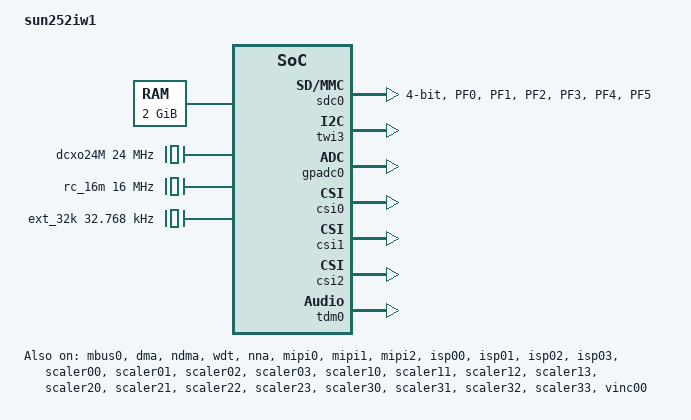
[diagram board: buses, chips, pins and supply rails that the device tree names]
// SPDX-License-Identifier: (GPL-2.0+ or MIT)
#include <dt-bindings/clock/sun252iw1-ccu.h>
#include <dt-bindings/clock/sun252iw1-r-ccu.h>
#include <dt-bindings/clock/sun252iw1-rtc.h>
#include <dt-bindings/reset/sun252iw1-ccu.h>
#include <dt-bindings/reset/sun252iw1-r-ccu.h>
#include <dt-bindings/gpio/gpio.h>
#include <dt-bindings/gpio/sun4i-gpio.h>
#include <dt-bindings/interrupt-controller/irq.h>
#include <dt-bindings/phy/phy.h>
#include <dt-bindings/thermal/thermal.h>
#include <dt-bindings/spi/sunxi-spi.h>

/ {
	model = "sun252iw1";
	compatible = "allwinner,sun252iw1p1";
	#address-cells = <2>;
	#size-cells = <2>;

	aliases {
		serial0 = &uart0;
		twi0 = &twi0;
		twi1 = &twi1;
		twi2 = &twi2;
		twi3 = &twi3;
		spi0 = &spi0;
		gpadc0 = &gpadc0;
		pwm0 = &pwm0;
	};

	chosen {
		stdout-path = "serial0:115200n8";  /* opensbi needs this */
	};

	reserved-memory {
		#address-cells = <2>;
		#size-cells = <2>;
		ranges;
		opensbi {
			reg = <0x0 0x46fc0000 0x0 0x00040000>;
		};

		linux,cma {
			compatible = "shared-dma-pool";
			reusable;
			size = <0x0 0x8000000>;
			alignment = <0x0 0x2000>;
			linux,cma-default;
		};
	};

	/* avoid panic when memory-node err(from uboot) */
	memory@40000000 {
		device_type = "memory";
		reg = <0x00000000 0x40000000 0x00000000 0x80000000>;
	};

	dcxo24M: dcxo24M_clk {
		#clock-cells = <0>;
		compatible = "fixed-clock";
		clock-frequency = <24000000>;
		clock-output-names = "dcxo24M";
	};

	rc_16m: rc16m_clk {
		#clock-cells = <0>;
		compatible = "fixed-clock";
		clock-frequency = <16000000>;
		clock-accuracy = <300000000>;
		clock-output-names = "rc-16m";
	};

	ext_32k: ext32k_clk {
		#clock-cells = <0>;
		compatible = "fixed-clock";
		clock-frequency = <32768>;
		clock-output-names = "ext-32k";
	};
	cpus {
		#address-cells = <1>;
		#size-cells = <0>;
		timebase-frequency = <24000000>;

		cpu0: cpu@0 {
			device_type = "cpu";
			reg = <0x0>;
			status = "okay";
			compatible = "riscv";
			cpu-idle-states = <&CPU_SLEEP>;
			riscv,cbom-block-size = <0x40>;
			riscv,cboz-block-size = <0x40>;
			riscv,isa = "rv32imafdcvsu_zicbom_zicboz_svpbmt";
			mmu-type = "riscv,sv32";
			cpu0_intc: interrupt-controller {
				#address-cells = <0>;
				#interrupt-cells = <1>;
				compatible = "riscv,cpu-intc";
				interrupt-controller;
			};
		};

		cpu1: cpu@1 {
			device_type = "cpu";
			reg = <0x1>;
			status = "okay";
			compatible = "riscv";
			cpu-idle-states = <&CPU_SLEEP>;
			riscv,cbom-block-size = <0x40>;
			riscv,cboz-block-size = <0x40>;
			riscv,isa = "rv32imafdcvsu_zicbom_zicboz_svpbmt";
			mmu-type = "riscv,sv32";
			cpu1_intc: interrupt-controller {
				#address-cells = <0>;
				#interrupt-cells = <1>;
				compatible = "riscv,cpu-intc";
				interrupt-controller;
			};
		};

		cpu-map {
			cluster0 {
				core0 {
					cpu = <&cpu0>;
				};
				core1 {
					cpu = <&cpu1>;
				};
			};
		};

		idle-states {
			CPU_SLEEP: cpu-nonretentive {
				compatible = "riscv,idle-state";
				riscv,sbi-suspend-param = <0x80000000>;
				entry-latency-us = <50>;
				exit-latency-us = <50>;
				min-residency-us = <500>;
			};
		};
	};

	mbus0: mbus-controller@0x3102000 {
		compatible = "allwinner,generic-mbus";
		reg = <0x0 0x03102000 0x0 0x1000>;
		#mbus-cells = <1>;
		status = "okay";
		master_pmu_names = "pmu_cpuddr", "pmu_riscv_sys", "pmu_mahb_ddr",
		"pmu_dma_ddr", "pmu_ve_ddr", "pmu_ce_ddr", "pmu_csi_ddr",
		"pmu_isp_sys", "pmu_g2d_ddr", "pmu_de_ddr", "pmu_npu_ddr",
		"pmu_othddr", "pmu_totddr";
		master_pmu_idxs =<0 1 2 3 4 6 7 8 9 10 13 14 15>;
		master_port_idxs = <0 39 2 3 4 40 11 12 13 16 38>;
	};

	soc: soc@3000000 {
		compatible = "simple-bus";
		#address-cells = <2>;
		#size-cells = <2>;
		ranges;
		dma-noncoherent;

		plic0: interrupt-controller@30000000 {
			compatible = "thead,c900-plic";
			#address-cells = <0>;
			#interrupt-cells = <2>;
			interrupt-controller;
			reg = <0x0 0x30000000 0x0 0x402000>;
			interrupts-extended = <&cpu0_intc 11 &cpu0_intc 9>,
					      <&cpu1_intc 11 &cpu1_intc 9>;
			riscv,ndev = <150>;
		};

		clint: timer@34000000 {
			compatible = "thead,c900-clint";
			reg = <0x0 0x34000000 0x0 0x00010000>;
			interrupts-extended = <&cpu0_intc 3>, <&cpu0_intc 7>,
					      <&cpu1_intc 3>, <&cpu1_intc 7>;
		};

		pio: pinctrl@2000000 {
			compatible = "allwinner,sun252iw1-pinctrl";
			reg = <0x0 0x02000000 0x0 0x800>;
			interrupts-extended = <&plic0 67 IRQ_TYPE_LEVEL_HIGH>,
				<&plic0 73 IRQ_TYPE_LEVEL_HIGH>,
				<&plic0 77 IRQ_TYPE_LEVEL_HIGH>;
			clocks = <&ccu CLK_APB0>, <&dcxo24M>, <&rtc_ccu CLK_OSC32K>;
			clock-names = "apb", "hosc", "losc";
			gpio-controller;
			#gpio-cells = <3>;
			interrupt-controller;
			#interrupt-cells = <3>;
			#address-cells = <2>;

			sdc0_pins_a: sdc0@0 {
				pins = "PF0", "PF1", "PF2",
						"PF3", "PF4", "PF5";
				function = "sdc0";
				drive-strength = <40>;
				bias-pull-up;
				power-source = <3300>;
			};

			sdc0_pins_b: sdc0@1 {
				pins = "PF0", "PF1", "PF2",
						"PF3", "PF4", "PF5";
				function = "sdc0";
				drive-strength = <40>;
				bias-pull-up;
				power-source = <1800>;
			};

			sdc0_pins_c: sdc0@2 {
				pins = "PF0", "PF1", "PF2",
						"PF3", "PF4", "PF5";
				function = "gpio_in";
				power-source = <3300>;
			};

			/* TODO: add jtag pin */
			sdc0_pins_d: sdc0@3 {
				pins = "PF2", "PF4";
				function = "uart0";
				drive-strength = <10>;
				bias-pull-up;
				power-source = <3300>;
			};

			sdc0_pins_e: sdc0@4 {
				pins = "PF0", "PF1", "PF3",
						"PF5";
				function = "jtag";
				drive-strength = <10>;
				bias-pull-up;
				power-source = <3300>;
			};
		};

		rtc_ccu: rtc_ccu@7090000 {
			compatible = "allwinner,sun252iw1-rtc-ccu";
			device_type = "rtc-ccu";
			reg = <0x0 0x07090000 0x0 0x320>;  /* The same as rtc */
			#clock-cells = <1>;
		};

		ccu: ccu@2001000 {
			compatible = "allwinner,sun252iw1-ccu";
			reg = <0x0 0x02001000 0x0 0x1000>;
			clocks = <&dcxo24M>, <&rtc_ccu CLK_OSC32K>, <&rtc_ccu CLK_IOSC>;
			clock-names = "hosc", "losc", "iosc";
			#clock-cells = <1>;
			#reset-cells = <1>;
		};

		r_ccu: r_ccu@7010000 {
			compatible = "allwinner,sun252iw1-r-ccu";
			reg = <0x0 0x07010000 0x0 0x400>;
			#clock-cells = <1>;
			#reset-cells = <1>;
		};

		dump_reg:dump_reg@100000 {
			compatible = "allwinner,sunxi-dump-reg";
			reg = <0x0 0x00100000 0x0 0x0004>;
		};

		uart0: uart@2500000 {
			compatible = "allwinner,uart-v100",
				     "allwinner,sunxi-uart";  /* opensbi needs this */
			reg = <0x0 0x02500000 0x0 0x400>;
			interrupts-extended = <&plic0 2 IRQ_TYPE_LEVEL_HIGH>;
			uart0_port = <0>;
			uart0_type = <2>;
			clocks = <&ccu CLK_UART0>;
			resets = <&ccu RST_BUS_UART0>;
			status = "disabled";
		};

		dma:dma-controller@3002000 {
			compatible = "allwinner,dma-v109";
			reg = <0x0 0x03002000 0x0 0x1000>;
			interrupts-extended = <&plic0 50 IRQ_TYPE_LEVEL_HIGH>;
			clocks = <&ccu CLK_SGDMA>, <&ccu CLK_MBUS_DMA_EN>, <&ccu CLK_MBUS_SGDMA_GATE>;
			clock-names = "bus", "mbus-en", "mbus";
			dma-noncoherent;
			dma-channels = <4>;
			dma-requests = <64>;
			resets = <&ccu RST_BUS_SGDMA>;
			#dma-cells = <1>;
			status = "okay";
		};

		timer0_0: timer0@3008000 {
			compatible = "allwinner,hstimer-v100";
			device_type = "timer0";
			reg = <0x0 0x03008000 0x0 0x400>;
			interrupts-extended = <&plic0 55 IRQ_TYPE_LEVEL_HIGH>;
			clocks = <&dcxo24M>, <&ccu CLK_HSTIMER>;
			clock-names = "parent", "bus";
			resets = <&ccu RST_BUS_HSTIME>;
		};

		ndma:ndma-controller@3042000 {
			compatible = "allwinner,ndma-v100";
			reg = <0x0 0x03042000 0x0 0x1000>;
			interrupts-extended = <&plic0 37 IRQ_TYPE_LEVEL_HIGH>;
			clocks = <&ccu CLK_NDMA>;
			clock-names = "bus";
			dma-noncoherent;
			dma-channels = <8>;
			dma-requests = <64>;
			resets = <&ccu RST_BUS_NDMA>;
			#dma-cells = <1>;
			status = "okay";
		};

		sdc0: sdmmc@4020000 {
			compatible = "allwinner,sunxi-mmc-v5p3x";
			device_type = "sdc0";
			reg = <0x0 0x04020000 0x0 0x1000>;
			interrupts-extended = <&plic0 40 IRQ_TYPE_LEVEL_HIGH>;
			clocks = <&dcxo24M>,
				 <&ccu CLK_PLL_PERI_400M>,
				 <&ccu CLK_PLL_PERI_300M>,
				 <&ccu CLK_SMHC0>,
				 <&ccu CLK_BUS_SMHC0>;
			clock-names = "osc24m","pll_periph","pll_periph_2","mmc","ahb";
			resets = <&ccu RST_BUS_SMHC0>;
			reset-names = "rst";
			pinctrl-names = "default","mmc_1v8","sleep","uart_jtag";
			pinctrl-0 = <&sdc0_pins_a>;
			pinctrl-1 = <&sdc0_pins_b>;
			pinctrl-2 = <&sdc0_pins_c>;
			pinctrl-3 = <&sdc0_pins_d &sdc0_pins_e>;
			max-frequency = <50000000>;
			bus-width = <4>;
			req-page-count = <2>;
			/*non-removable;*/
			/*broken-cd;*/
			/*cd-inverted*/
			/*cd-gpios = <&pio PF 6 GPIO_ACTIVE_LOW>;*/
			/* vmmc-supply = <&reg_3p3v>;*/
			/* vqmc-supply = <&reg_3p3v>;*/
			/* vdmc-supply = <&reg_3p3v>;*/
			/*vmmc = "vcc-card";*/
			/*vqmc = "";*/
			/*vdmc = "";*/
			cap-sd-highspeed;
			cap-wait-while-busy;
			/*sd-uhs-sdr50;*/
			/*sd-uhs-ddr50;*/
			/*cap-sdio-irq;*/
			/*keep-power-in-suspend;*/
			/*ignore-pm-notify;*/
			/*sunxi-power-save-mode;*/
			/*sunxi-dly-400k = <1 0 0 0>; */
			/*sunxi-dly-26M  = <1 0 0 0>;*/
			/*sunxi-dly-52M  = <1 0 0 0>;*/
			/*sunxi-dly-52M-ddr4  = <1 0 0 0>;*/
			/*sunxi-dly-52M-ddr8  = <1 0 0 0>;*/
			/*sunxi-dly-104M  = <1 0 0 0>;*/
			/*sunxi-dly-208M  = <1 0 0 0>;*/
			/*sunxi-dly-104M-ddr  = <1 0 0 0>;*/
			/*sunxi-dly-208M-ddr  = <1 0 0 0>;*/
			ctl-spec-caps = <0x428>;
			status = "okay";
		};

		twi0: twi@2502000 {
			#address-cells = <1>;
			#size-cells = <0>;
			compatible = "allwinner,sunxi-twi-v101";
			device_type = "twi0";
			reg = <0x0 0x02502000 0x0 0x400>;
			interrupts-extended= <&plic0 9 IRQ_TYPE_LEVEL_HIGH>;
			clocks = <&ccu CLK_TWI0>;
			resets = <&ccu RST_BUS_TWI0>;
			clock-names = "bus";
			dmas = <&dma 43>, <&dma 43>;
			dma-names = "tx", "rx";
			status = "disabled";
		};

		twi1: twi@2502400 {
			#address-cells = <1>;
			#size-cells = <0>;
			compatible = "allwinner,sunxi-twi-v101";
			device_type = "twi1";
			reg = <0x0 0x02502400 0x0 0x400>;
			interrupts-extended= <&plic0 10 IRQ_TYPE_LEVEL_HIGH>;
			clocks = <&ccu CLK_TWI1>;
			resets = <&ccu RST_BUS_TWI1>;
			clock-names = "bus";
			dmas = <&dma 44>, <&dma 44>;
			dma-names = "tx", "rx";
			status = "disabled";
		};

		twi2: twi@2502800 {
			#address-cells = <1>;
			#size-cells = <0>;
			compatible = "allwinner,sunxi-twi-v101";
			device_type = "twi2";
			reg = <0x0 0x02502800 0x0 0x400>;
			interrupts-extended = <&plic0 11 IRQ_TYPE_LEVEL_HIGH>;
			clocks = <&ccu CLK_TWI2>;
			resets = <&ccu RST_BUS_TWI2>;
			clock-names = "bus";
			dmas = <&dma 45>, <&dma 45>;
			dma-names = "tx", "rx";
			status = "disabled";
		};

		twi3: twi@2502c00 {
			#address-cells = <1>;
			#size-cells = <0>;
			compatible = "allwinner,sunxi-twi-v101";
			device_type = "twi3";
			reg = <0x0 0x02502c00 0x0 0x400>;
			interrupts-extended = <&plic0 12 IRQ_TYPE_LEVEL_HIGH>;
			clocks = <&ccu CLK_TWI3>;
			resets = <&ccu RST_BUS_TWI3>;
			clock-names = "bus";
			dmas = <&dma 46>, <&dma 46>;
			dma-names = "tx", "rx";
		};

		spi0: spi@4025000 {
			#address-cells = <1>;
			#size-cells = <0>;
			compatible = "allwinner,sunxi-spi-v1.3";
			reg = <0x0 0x04025000 0x0 0x1000>;
			interrupts-extended = <&plic0 15 IRQ_TYPE_LEVEL_HIGH>;
			clocks = <&ccu CLK_PLL_PERI_300M>, <&ccu CLK_SPI0>, <&ccu CLK_BUS_SPI0>;
			clock-names = "pll", "mod", "bus";
			resets = <&ccu RST_BUS_SPI0>;
			dmas = <&dma 22>, <&dma 22>;
			dma-names = "tx", "rx";
			clock-frequency = <100000000>;
			sunxi,spi-num-cs = <2>;
			status = "disabled";
		};

		rtc: rtc@7090000 {
			compatible = "allwinner,rtc-v200";
			device_type = "rtc";
			wakeup-source;
			auto_switch;
			reg = <0x0 0x07090000 0x0 0x320>;
			interrupts-extended  = <&plic0 138 IRQ_TYPE_LEVEL_HIGH>;
			clocks = <&r_ccu CLK_R_RTC>, <&rtc_ccu CLK_RTC_1K>, <&rtc_ccu CLK_RTC_SPI>;
			clock-names = "r-ahb-rtc", "rtc-1k", "rtc-spi";
			resets = <&r_ccu RST_BUS_R_RTC>;
			gpr_cur_pos = <6>;
		};

		wdt: watchdog@8009000 {
			compatible = "allwinner,wdt-v104";
			reg = <0x0 0x08009000 0x0 0x40>;
			status = "okay";
			lowlevel-output-time-for-reset = <0x3F>;
		};

		nna: nna@3050000 {
			compatible = "allwinner,aw-nna-sunxi";
			reg = <0x0 0x03050000 0x0 0x10000>;
			interrupts-extended  = <&plic0 65 IRQ_TYPE_LEVEL_HIGH>;
			clocks = <&ccu CLK_BUS_NPU>,
				 <&ccu CLK_MBUS_NPU_GATE>,
				 <&ccu CLK_NPU>;
			clock-names = "bus_npu", "mbus_npu", "npu";
			resets = <&ccu RST_BUS_NPU>;
			status = "okay";
		};

		gpadc0: gpadc0@2009000 {
			compatible = "allwinner,sunxi-gpadc-v104";
			reg = <0x0 0x02009000 0x0 0x400>;
			interrupts-extended  = <&plic0 228 IRQ_TYPE_LEVEL_HIGH>;
			clocks = <&ccu CLK_GPADC>, <&ccu CLK_GPADC>;
			clock-names = "bus", "hosc";
			resets = <&ccu RST_BUS_GPADC>;
			status = "okay";
		};

		pwm0: pwm0@2002000 {
			#pwm-cells = <0x3>;
			compatible = "allwinner,sunxi-pwm-v203";
			reg = <0x0 0x02002000 0x0 0x400>;
			clocks = <&ccu CLK_PWM>;
			interrupts-extended  = <&plic0 72 IRQ_TYPE_LEVEL_HIGH>;
			resets = <&ccu RST_BUS_PWM>;
			pwm-number = <16>;
			pwm-base = <0x0>;
			sunxi-pwms = <&pwm0_0>, <&pwm0_1>, <&pwm0_2>, <&pwm0_3>, <&pwm0_4>,
			<&pwm0_5>, <&pwm0_6>, <&pwm0_7>, <&pwm0_8>, <&pwm0_9>,
			<&pwm0_10>, <&pwm0_11>, <&pwm0_12>, <&pwm0_13>,
			<&pwm0_14>, <&pwm0_15>;
			status = "disabled";
		};

		pwm0_0: pwm0@2002010 {
			compatible = "allwinner,sunxi-pwm0";
			pinctrl-names = "active", "sleep";
			reg = <0x0 0x02002010 0x0 0x4>;
			reg_base = <0x02002000>;
			status = "disabled";
		};

		pwm0_1: pwm0@2002011 {
			compatible = "allwinner,sunxi-pwm1";
			pinctrl-names = "active", "sleep";
			reg = <0x0 0x02002011 0x0 0x4>;
			reg_base = <0x02002000>;
			status = "disabled";
		};

		pwm0_2: pwm0@2002012 {
			compatible = "allwinner,sunxi-pwm2";
			pinctrl-names = "active", "sleep";
			reg = <0x0 0x02002012 0x0 0x4>;
			reg_base = <0x02002000>;
			status = "disabled";
		};

		pwm0_3: pwm0@2002013 {
			compatible = "allwinner,sunxi-pwm3";
			pinctrl-names = "active", "sleep";
			reg = <0x0 0x02002013 0x0 0x4>;
			reg_base = <0x02002000>;
			status = "disabled";
		};

		pwm0_4: pwm0@2002014 {
			compatible = "allwinner,sunxi-pwm4";
			pinctrl-names = "active", "sleep";
			reg = <0x0 0x02002014 0x0 0x4>;
			reg_base = <0x02002000>;
			status = "disabled";
		};

		pwm0_5: pwm0@2002015 {
			compatible = "allwinner,sunxi-pwm5";
			pinctrl-names = "active", "sleep";
			reg = <0x0 0x02002015 0x0 0x4>;
			reg_base = <0x02002000>;
			status = "disabled";
		};

		pwm0_6: pwm0@2002016 {
			compatible = "allwinner,sunxi-pwm6";
			pinctrl-names = "active", "sleep";
			reg = <0x0 0x02002016 0x0 0x4>;
			reg_base = <0x02002000>;
			status = "disabled";
		};

		pwm0_7: pwm0@2002017 {
			compatible = "allwinner,sunxi-pwm7";
			pinctrl-names = "active", "sleep";
			reg = <0x0 0x02002017 0x0 0x4>;
			reg_base = <0x02002000>;
			status = "disabled";
		};

		pwm0_8: pwm0@2002018 {
			compatible = "allwinner,sunxi-pwm8";
			pinctrl-names = "active", "sleep";
			reg = <0x0 0x02002018 0x0 0x4>;
			reg_base = <0x02002000>;
			status = "disabled";
		};

		pwm0_9: pwm0@2002019 {
			compatible = "allwinner,sunxi-pwm9";
			pinctrl-names = "active", "sleep";
			reg = <0x0 0x02002019 0x0 0x4>;
			reg_base = <0x02002000>;
			status = "disabled";
		};

		pwm0_10: pwm0@200201a {
			compatible = "allwinner,sunxi-pwm10";
			pinctrl-names = "active", "sleep";
			reg = <0x0 0x0200201a 0x0 0x4>;
			reg_base = <0x02002000>;
			status = "disabled";
		};

		pwm0_11: pwm0@200201b {
			compatible = "allwinner,sunxi-pwm11";
			pinctrl-names = "active", "sleep";
			reg = <0x0 0x0200201b 0x0 0x4>;
			reg_base = <0x02002000>;
			status = "disabled";
		};

		pwm0_12: pwm0@200201c {
			compatible = "allwinner,sunxi-pwm12";
			pinctrl-names = "active", "sleep";
			reg = <0x0 0x0200201c 0x0 0x4>;
			reg_base = <0x02002000>;
			status = "disabled";
		};

		pwm0_13: pwm0@200201d {
			compatible = "allwinner,sunxi-pwm13";
			pinctrl-names = "active", "sleep";
			reg = <0x0 0x0200201d 0x0 0x4>;
			reg_base = <0x02002000>;
			status = "disabled";
		};

		pwm0_14: pwm0@200201e {
			compatible = "allwinner,sunxi-pwm14";
			pinctrl-names = "active", "sleep";
			reg = <0x0 0x0200201e 0x0 0x4>;
			reg_base = <0x02002000>;
			status = "disabled";
		};

		pwm0_15: pwm0@200201f {
			compatible = "allwinner,sunxi-pwm15";
			pinctrl-names = "active", "sleep";
			reg = <0x0 0x0200201f 0x0 0x4>;
			reg_base = <0x02002000>;
			status = "disabled";
		};

		sid: sid@7091000 {
			compatible = "allwinner,sunxi-sid";
			reg = <0x0 0x07091000 0x0 0x1000>;
			#address-cells = <1>;
			#size-cells = <1>;
			non-secure-maxoffset = <0xC8>;
			non-secure-maxlen = <0x10>;
			chipid {
				offset = <0x200>;
				size = <0x10>;
			};
			rotpk {
				offset = <0x140>;
				size = <0x20>;
			};
		};

		sram_ctrl: sram_ctrl@3000000 {
			compatible = "allwinner,sram_ctrl";
			reg = <0x0 0x03000000 0 0x184>;
			soc_ver {
				offset = <0x24>;
				mask = <0x7>;
				shift = <0>;
			};
		};
		vind0: vind@5800800 {
			compatible = "allwinner,sunxi-vin-media", "simple-bus";
			#address-cells = <2>;
			#size-cells = <2>;
			ranges;
			device_id = <0>;
			csi_top = <300000000>;
			reg = <0x0 0x05800800 0x0 0x200>,
				<0x0 0x05800000 0x0 0x800>,
				<0x0 0x05810000 0x0 0x100>;
			interrupts-extended = <&plic0 106 IRQ_TYPE_LEVEL_HIGH>;
			clocks = <&ccu CLK_CSI>, <&ccu CLK_PLL_CSI_4X>,
				<&ccu CLK_CSI_MASTER0>, <&dcxo24M>, <&ccu CLK_PLL_CSI_4X>,
				<&ccu CLK_CSI_MASTER1>, <&dcxo24M>, <&ccu CLK_PLL_CSI_4X>,
				<&ccu CLK_CSI_MASTER2>, <&dcxo24M>, <&ccu CLK_PLL_CSI_4X>;
			clock-names = "csi_top", "csi_top_src",
						"csi_mclk0", "csi_mclk0_24m", "csi_mclk0_pll",
						"csi_mclk1", "csi_mclk1_24m", "csi_mclk1_pll",
						"csi_mclk2", "csi_mclk2_24m", "csi_mclk2_pll";
			resets = <&ccu RST_BUS_CSI>, <>;
			reset-names = "csi_ret", "isp_ret";
			pinctrl-names = "mclk0-default", "mclk0-sleep", "mclk1-default", "mclk1-sleep",
							"mclk2-default", "mclk2-sleep";
			pinctrl-0 = <>;
			pinctrl-1 = <>;
			pinctrl-2 = <>;
			pinctrl-3 = <>;
			pinctrl-4 = <>;
			pinctrl-5 = <>;
			#power-domains = <>;
			#dram_dfs_time = <150>;
			status = "okay";

			csi0: csi@5820000 {
				compatible = "allwinner,sunxi-csi";
				reg = <0x0 0x05820000 0x0 0x1000>;
				interrupts-extended = <&plic0 100 IRQ_TYPE_LEVEL_HIGH>;
				device_id = <0>;
				status = "okay";
			};
			csi1: csi@5821000 {
				compatible = "allwinner,sunxi-csi";
				reg = <0x0 0x05821000 0x0 0x1000>;
				interrupts-extended = <&plic0 101 IRQ_TYPE_LEVEL_HIGH>;
				device_id = <1>;
				status = "okay";
			};
			csi2: csi@5822000 {
				compatible = "allwinner,sunxi-csi";
				reg = <0x0 0x05822000 0x0 0x1000>;
				interrupts-extended = <&plic0 102 IRQ_TYPE_LEVEL_HIGH>;
				pinctrl-names = "default","sleep";
				pinctrl-0 = <>;
				pinctrl-1 = <>;
				device_id = <2>;
				status = "okay";
			};
			mipi0: mipi@5810100 {
				compatible = "allwinner,sunxi-mipi";
				reg = <0x0 0x05810100 0x0 0x100>,
					<0x0 0x05811000 0x0 0x400>;
				interrupts-extended = <&plic0 104 IRQ_TYPE_LEVEL_HIGH>;
				pinctrl-names = "mipi0-default","mipi0-sleep",
						"mipi1-4lane-default","mipi1-4lane-sleep";
				pinctrl-0 = <>;
				pinctrl-1 = <>;
				pinctrl-2 = <>;
				pinctrl-3 = <>;
				device_id = <0>;
				status = "okay";
			};
			mipi1: mipi@5810200 {
				compatible = "allwinner,sunxi-mipi";
				reg = <0x0 0x05810200 0x0 0x100>,
					<0x0 0x05811400 0x0 0x400>;
				pinctrl-names = "mipi1-default","mipi1-sleep";
				pinctrl-0 = <>;
				pinctrl-1 = <>;
				device_id = <1>;
				status = "okay";
			};
			mipi2: mipi@5810300 {
				compatible = "allwinner,sunxi-mipi";
				reg = <0x0 0x05810300 0x0 0x100>,
					<0x0 0x05811800 0x0 0x400>;
				pinctrl-names = "mipi2-default","mipi2-sleep",
						"mipi3-4lane-default","mipi3-4lane-sleep";
				pinctrl-0 = <>;
				pinctrl-1 = <>;
				device_id = <2>;
				status = "okay";
			};
			tdm0: tdm@5908000 {
				compatible = "allwinner,sunxi-tdm";
				reg = <0x0 0x05908000 0x0 0x300>;
				interrupts-extended = <&plic0 105 IRQ_TYPE_LEVEL_HIGH>;
				work_mode = <0x0>;
				device_id = <0>;
				status = "okay";
			};
			isp00:isp@5900000 {
				compatible = "allwinner,sunxi-isp";
				reg = <0x0 0x05900000 0x0 0x1300>;
				interrupts-extended = <&plic0 108 IRQ_TYPE_LEVEL_HIGH>,
									<&plic0 107 IRQ_TYPE_LEVEL_HIGH>;
				work_mode = <0x0>;
				device_id = <0>;
				status = "okay";
			};
			isp01:isp@58ffffc {
				compatible = "allwinner,sunxi-isp";
				reg = <0x0 0x058ffffc 0x0 0x1304>;
				interrupts-extended = <&plic0 109 IRQ_TYPE_LEVEL_HIGH>;
				work_mode = <0xff>;
				device_id = <1>;
				status = "okay";
			};
			isp02:isp@58ffff8 {
				compatible = "allwinner,sunxi-isp";
				reg = <0x0 0x058ffff8 0x0 0x1308>;
				interrupts-extended = <&plic0 110 IRQ_TYPE_LEVEL_HIGH>;
				work_mode = <0xff>;
				device_id = <2>;
				status = "okay";
			};
			isp03:isp@58ffff4 {
				compatible = "allwinner,sunxi-isp";
				reg = <0x0 0x058ffff4 0x0 0x130c>;
				interrupts-extended = <&plic0 111 IRQ_TYPE_LEVEL_HIGH>;
				work_mode = <0xff>;
				device_id = <3>;
				status = "okay";
			};
			isp10:isp@4 {
				compatible = "allwinner,sunxi-isp";
				device_id = <4>;
				status = "okay";
			};
			isp20:isp@5 {
				compatible = "allwinner,sunxi-isp";
				device_id = <5>;
				status = "okay";
			};
			isp30:isp@6 {
				compatible = "allwinner,sunxi-isp";
				device_id = <6>;
				status = "okay";
			};
			scaler00:scaler@5910000 {
				compatible = "allwinner,sunxi-scaler";
				reg = <0x0 0x05910000 0x0 0x400>;
				interrupts-extended = <&plic0 112 IRQ_TYPE_LEVEL_HIGH>;
				work_mode = <0x0>;
				device_id = <0>;
				status = "okay";
			};
			scaler01:scaler@590fffc {
				compatible = "allwinner,sunxi-scaler";
				reg = <0x0 0x0590fffc 0x0 0x404>;
				work_mode = <0xff>;
				device_id = <1>;
				status = "okay";
			};
			scaler02:scaler@590fff8 {
				compatible = "allwinner,sunxi-scaler";
				reg = <0x0 0x0590fff8 0x0 0x408>;
				work_mode = <0xff>;
				device_id = <2>;
				status = "okay";
			};
			scaler03:scaler@590fff4 {
				compatible = "allwinner,sunxi-scaler";
				reg = <0x0 0x0590fff4 0x0 0x40c>;
				work_mode = <0xff>;
				device_id = <3>;
				status = "okay";
			};
			scaler10:scaler@5910400 {
				compatible = "allwinner,sunxi-scaler";
				reg = <0x0 0x05910400 0x0 0x400>;
				interrupts-extended = <&plic0 113 IRQ_TYPE_LEVEL_HIGH>;
				work_mode = <0x0>;
				device_id = <4>;
				status = "okay";
			};
			scaler11:scaler@59103fc {
				compatible = "allwinner,sunxi-scaler";
				reg = <0x0 0x059103fc 0x0 0x404>;
				work_mode = <0xff>;
				device_id = <5>;
				status = "okay";
			};
			scaler12:scaler@59103f8 {
				compatible = "allwinner,sunxi-scaler";
				reg = <0x0 0x059103f8 0x0 0x408>;
				work_mode = <0xff>;
				device_id = <6>;
				status = "okay";
			};
			scaler13:scaler@59103f4 {
				compatible = "allwinner,sunxi-scaler";
				reg = <0x0 0x059103f4 0x0 0x40c>;
				work_mode = <0xff>;
				device_id = <7>;
				status = "okay";
			};
			scaler20:scaler@5910800 {
				compatible = "allwinner,sunxi-scaler";
				reg = <0x0 0x05910800 0x0 0x400>;
				interrupts-extended = <&plic0 114 IRQ_TYPE_LEVEL_HIGH>;
				work_mode = <0x0>;
				device_id = <8>;
				status = "okay";
			};
			scaler21:scaler@59107fc {
				compatible = "allwinner,sunxi-scaler";
				reg = <0x0 0x059107fc 0x0 0x404>;
				work_mode = <0xff>;
				device_id = <9>;
				status = "okay";
			};
			scaler22:scaler@59107f8 {
				compatible = "allwinner,sunxi-scaler";
				reg = <0x0 0x059107f8 0x0 0x408>;
				work_mode = <0xff>;
				device_id = <10>;
				status = "okay";
			};
			scaler23:scaler@59107f4 {
				compatible = "allwinner,sunxi-scaler";
				reg = <0x0 0x059107f4 0x0 0x40c>;
				work_mode = <0xff>;
				device_id = <11>;
				status = "okay";
			};
			scaler30:scaler@5910c00 {
				compatible = "allwinner,sunxi-scaler";
				reg = <0x0 0x05910c00 0x0 0x400>;
				interrupts-extended = <&plic0 115 IRQ_TYPE_LEVEL_HIGH>;
				work_mode = <0x0>;
				device_id = <12>;
				status = "okay";
			};
			scaler31:scaler@5910bfc {
				compatible = "allwinner,sunxi-scaler";
				reg = <0x0 0x05910bfc 0x0 0x404>;
				work_mode = <0xff>;
				device_id = <13>;
				status = "okay";
			};
			scaler32:scaler@5910bf8 {
				compatible = "allwinner,sunxi-scaler";
				reg = <0x0 0x05910bf8 0x0 0x408>;
				work_mode = <0xff>;
				device_id = <14>;
				status = "okay";
			};
			scaler33:scaler@5910bf4 {
				compatible = "allwinner,sunxi-scaler";
				reg = <0x0 0x05910bf4 0x0 0x40c>;
				work_mode = <0xff>;
				device_id = <15>;
				status = "okay";
			};
			actuator0: actuator@2108180 {
				compatible = "allwinner,sunxi-actuator";
				device_type = "actuator0";
				reg = <0x0 0x02108180 0x0 0x10>;
				actuator0_name = "ad5820_act";
				actuator0_slave = <0x18>;
				actuator0_af_pwdn = <>;
				actuator0_afvdd = "afvcc-csi";
				actuator0_afvdd_vol = <2800000>;
				status = "disabled";
			};
			flash0: flash@2108190 {
				device_type = "flash0";
				compatible = "allwinner,sunxi-flash";
				reg = <0x0 0x02108190 0x0 0x10>;
				flash0_type = <2>;
				flash0_en = <>;
				flash0_mode = <>;
				flash0_flvdd = "";
				flash0_flvdd_vol = <>;
				device_id = <0>;
				status = "disabled";
			};
			sensor0: sensor@5812000 {
				reg = <0x0 0x05812000 0x0 0x10>;
				device_type = "sensor0";
				compatible = "allwinner,sunxi-sensor";
				sensor0_mname = "ov5640";
				sensor0_twi_cci_id = <2>;
				sensor0_twi_addr = <0x78>;
				sensor0_mclk_id = <0>;
				sensor0_pos = "rear";
				sensor0_isp_used = <0>;
				sensor0_fmt = <0>;
				sensor0_stby_mode = <0>;
				sensor0_vflip = <0>;
				sensor0_hflip = <0>;
				sensor0_iovdd-supply = <>;
				sensor0_iovdd_vol = <>;
				sensor0_avdd-supply = <>;
				sensor0_avdd_vol = <>;
				sensor0_dvdd-supply = <>;
				sensor0_dvdd_vol = <>;
				sensor0_power_en = <>;
				sensor0_reset = <>;
				sensor0_pwdn = <>;
				sensor0_sm_vs = <>;
				flash_handle = <&flash0>;
				act_handle = <&actuator0>;
				device_id = <0>;
				status	= "disabled";
			};
			sensor1: sensor@5812010 {
				reg = <0x0 0x05812010 0x0 0x10>;
				device_type = "sensor1";
				compatible = "allwinner,sunxi-sensor";
				sensor1_mname = "ov5647";
				sensor1_twi_cci_id = <3>;
				sensor1_twi_addr = <0x6c>;
				sensor1_mclk_id = <1>;
				sensor1_pos = "front";
				sensor1_isp_used = <0>;
				sensor1_fmt = <0>;
				sensor1_stby_mode = <0>;
				sensor1_vflip = <0>;
				sensor1_hflip = <0>;
				sensor1_iovdd-supply = <>;
				sensor1_iovdd_vol = <>;
				sensor1_avdd-supply = <>;
				sensor1_avdd_vol = <>;
				sensor1_dvdd-supply = <>;
				sensor1_dvdd_vol = <>;
				sensor1_power_en = <>;
				sensor1_reset = <>;
				sensor1_pwdn = <>;
				sensor1_sm_vs = <>;
				flash_handle = <>;
				act_handle = <>;
				device_id = <1>;
				status	= "disabled";
			};
			sensor2: sensor@5812020 {
				reg = <0x0 0x05812020 0x0 0x10>;
				device_type = "sensor2";
				compatible = "allwinner,sunxi-sensor";
				sensor2_mname = "imx386_mipi";
				sensor2_twi_cci_id = <3>;
				sensor2_twi_addr = <0x6c>;
				sensor2_mclk_id = <1>;
				sensor2_pos = "rear";
				sensor2_isp_used = <0>;
				sensor2_fmt = <0>;
				sensor2_stby_mode = <0>;
				sensor2_vflip = <0>;
				sensor2_hflip = <0>;
				sensor2_iovdd-supply = <>;
				sensor2_iovdd_vol = <>;
				sensor2_avdd-supply = <>;
				sensor2_avdd_vol = <>;
				sensor2_dvdd-supply = <>;
				sensor2_dvdd_vol = <>;
				sensor2_power_en = <>;
				sensor2_reset = <>;
				sensor2_pwdn = <>;
				sensor2_sm_vs = <>;
				flash_handle = <>;
				act_handle = <>;
				device_id = <2>;
				status= "disabled";
			};
			sensor_list0:sensor_list@5812040 {
				reg = <0x0 0x05812040 0x0 0x10>;
				device_type = "sensor_list0";
				compatible = "allwinner,sunxi-sensor-list";
				csi_sel = <0>;
				sensor00_mname = "ov5675_mipi_b";
				sensor00_twi_addr = <0x60>;
				sensor00_type = <1>;
				sensor00_hflip =  <1>;
				sensor00_vflip = <0>;
				sensor00_act_used = <1>;
				sensor00_act_name = "dw9714_act";
				sensor00_act_twi_addr = <0x18>;
				sensor01_mname = "gc05a2_mipi_b";
				sensor01_twi_addr = <0x62>;
				sensor01_type = <1>;
				sensor01_hflip =  <0>;
				sensor01_vflip = <0>;
				sensor01_act_used = <1>;
				sensor01_act_name = "dw9714_act";
				sensor01_act_twi_addr = <0x18>;
				sensor02_mname = "gc5035_mipi_b";
				sensor02_twi_addr = <0x64>;
				sensor02_type = <1>;
				sensor02_hflip =  <0>;
				sensor02_vflip = <0>;
				sensor02_act_used = <1>;
				sensor02_act_name = "dw9714_act";
				sensor02_act_twi_addr = <0x18>;
				device_id = <0>;
				status	= "disabled";
			};
			sensor_list1:sensor_list@5812050 {
				reg = <0x0 0x05812050 0x0 0x10>;
				device_type = "sensor_list1";
				compatible = "allwinner,sunxi-sensor-list";
				csi_sel = <0>;
				sensor10_mname = "ov02a10_mipi_f";
				sensor10_twi_addr = <0x70>;
				sensor10_type = <1>;
				sensor10_hflip =  <1>;
				sensor10_vflip = <0>;
				sensor10_act_used = <0>;
				sensor10_act_name = "";
				sensor10_act_twi_addr = <>;
				sensor11_mname = "gc02m1_mipi_f";
				sensor11_twi_addr = <0x72>;
				sensor11_type = <1>;
				sensor11_hflip =  <1>;
				sensor11_vflip = <0>;
				sensor11_act_used = <0>;
				sensor11_act_name = "";
				sensor11_act_twi_addr = <>;
				sensor12_mname = "gc02m2_mipi_f";
				sensor12_twi_addr = <0x74>;
				sensor12_type = <1>;
				sensor12_hflip =  <0>;
				sensor12_vflip = <0>;
				sensor12_act_used = <0>;
				sensor12_act_name = "";
				sensor12_act_twi_addr = <>;
				device_id = <1>;
				status	= "disabled";
			};
			vinc00:vinc@5830000 {
				device_type = "vinc0";
				compatible = "allwinner,sunxi-vin-core";
				reg = <0x0 0x05830000 0x0 0x1000>;
				interrupts-extended = <&plic0 95 IRQ_TYPE_LEVEL_HIGH>;
				vinc0_csi_sel = <0>;
				vinc0_mipi_sel = <0>;
				vinc0_isp_sel = <0>;
				vinc0_isp_tx_ch = <0>;
				vinc0_tdm_rx_sel = <0>;
				vinc0_vipp_sel = <0>;
				vinc0_rear_sensor_sel = <0>;
				vinc0_front_sensor_sel = <0>;
				vinc0_sensor_list = <0>;
				device_id = <0>;
				work_mode = <0x0>;
				status = "okay";
			};

			vinc01:vinc@582fffc {
				device_type = "vinc1";
				compatible = "allwinner,sunxi-vin-core";
				reg = <0x0 0x0582fffc 0x0 0x1004>;
				vinc1_csi_sel = <1>;
				vinc1_mipi_sel = <1>;
				vinc1_isp_sel = <1>;
				vinc1_isp_tx_ch = <0>;
				vinc1_tdm_rx_sel = <1>;
				vinc1_vipp_sel = <1>;
				vinc1_rear_sensor_sel = <1>;
				vinc1_front_sensor_sel = <1>;
				vinc1_sensor_list = <0>;
				device_id = <1>;
				work_mode = <0xff>;
				status = "disabled";
			};
			vinc02:vinc@582fff8 {
				device_type = "vinc2";
				compatible = "allwinner,sunxi-vin-core";
				reg = <0x0 0x0582fff8 0x0 0x1008>;
				vinc2_csi_sel = <2>;
				vinc2_mipi_sel = <2>;
				vinc2_isp_sel = <2>;
				vinc2_isp_tx_ch = <0>;
				vinc2_tdm_rx_sel = <2>;
				vinc2_vipp_sel = <2>;
				vinc2_rear_sensor_sel = <2>;
				vinc2_front_sensor_sel = <2>;
				vinc2_sensor_list = <0>;
				device_id = <2>;
				work_mode = <0xff>;
				status = "disabled";
			};

			vinc03:vinc@582fff4 {
				device_type = "vinc3";
				compatible = "allwinner,sunxi-vin-core";
				reg = <0x0 0x0582fff4 0x0 0x100c>;
				vinc3_csi_sel = <2>;
				vinc3_mipi_sel = <0xff>;
				vinc3_isp_sel = <4>;
				vinc3_isp_tx_ch = <0>;
				vinc3_tdm_rx_sel = <0>;
				vinc3_vipp_sel = <3>;
				vinc3_rear_sensor_sel = <1>;
				vinc3_front_sensor_sel = <1>;
				vinc3_sensor_list = <0>;
				device_id = <3>;
				work_mode = <0xff>;
				status = "disabled";
			};

			vinc10:vinc@5831000 {
				device_type = "vinc4";
				compatible = "allwinner,sunxi-vin-core";
				reg = <0x0 0x05831000 0x0 0x1000>;
				interrupts-extended = <&plic0 96 IRQ_TYPE_LEVEL_HIGH>;
				vinc4_csi_sel = <0>;
				vinc4_mipi_sel = <0>;
				vinc4_isp_sel = <0>;
				vinc4_isp_tx_ch = <0>;
				vinc4_tdm_rx_sel = <0>;
				vinc4_vipp_sel = <4>;
				vinc4_rear_sensor_sel = <0>;
				vinc4_front_sensor_sel = <0>;
				vinc4_sensor_list = <0>;
				device_id = <4>;
				work_mode = <0x0>;
				status = "disabled";
			};

			vinc11:vinc@5830ffc {
				device_type = "vinc5";
				compatible = "allwinner,sunxi-vin-core";
				reg = <0x0 0x05830ffc 0x0 0x1004>;
				vinc5_csi_sel = <1>;
				vinc5_mipi_sel = <1>;
				vinc5_isp_sel = <1>;
				vinc5_isp_tx_ch = <0>;
				vinc5_tdm_rx_sel = <1>;
				vinc5_vipp_sel = <5>;
				vinc5_rear_sensor_sel = <1>;
				vinc5_front_sensor_sel = <1>;
				vinc5_sensor_list = <0>;
				device_id = <5>;
				work_mode = <0xff>;
				status = "disabled";
			};

			vinc12:vinc@5830ff8 {
				device_type = "vinc6";
				compatible = "allwinner,sunxi-vin-core";
				reg = <0x0 0x05830ff8 0x0 0x1008>;
				vinc6_csi_sel = <2>;
				vinc6_mipi_sel = <2>;
				vinc6_isp_sel = <2>;
				vinc6_isp_tx_ch = <0>;
				vinc6_tdm_rx_sel = <2>;
				vinc6_vipp_sel = <6>;
				vinc6_rear_sensor_sel = <2>;
				vinc6_front_sensor_sel = <2>;
				vinc6_sensor_list = <0>;
				device_id = <6>;
				work_mode = <0xff>;
				status = "disabled";
			};

			vinc13:vinc@5830ff4 {
				device_type = "vinc7";
				compatible = "allwinner,sunxi-vin-core";
				reg = <0x0 0x05830ff4 0x0 0x100c>;
				vinc7_csi_sel = <2>;
				vinc7_mipi_sel = <0xff>;
				vinc7_isp_sel = <4>;
				vinc7_isp_tx_ch = <0>;
				vinc7_tdm_rx_sel = <0>;
				vinc7_vipp_sel = <7>;
				vinc7_rear_sensor_sel = <0>;
				vinc7_front_sensor_sel = <0>;
				vinc7_sensor_list = <0>;
				device_id = <7>;
				work_mode = <0xff>;
				status = "disabled";
			};

			vinc20:vinc@5832000 {
				device_type = "vinc8";
				compatible = "allwinner,sunxi-vin-core";
				reg = <0x0 0x05832000 0x0 0x1000>;
				interrupts-extended = <&plic0 97 IRQ_TYPE_LEVEL_HIGH>;
				vinc8_csi_sel = <0>;
				vinc8_mipi_sel = <0>;
				vinc8_isp_sel = <0>;
				vinc8_isp_tx_ch = <0>;
				vinc8_tdm_rx_sel = <0>;
				vinc8_vipp_sel = <8>;
				vinc8_rear_sensor_sel = <0>;
				vinc8_front_sensor_sel = <0>;
				vinc8_sensor_list = <0>;
				device_id = <8>;
				work_mode = <0x0>;
				status = "disabled";
			};

			vinc21:vinc@5831ffc {
				device_type = "vinc9";
				compatible = "allwinner,sunxi-vin-core";
				reg = <0x0 0x05831ffc 0x0 0x1004>;
				vinc9_csi_sel = <1>;
				vinc9_mipi_sel = <1>;
				vinc9_isp_sel = <1>;
				vinc9_isp_tx_ch = <0>;
				vinc9_tdm_rx_sel = <1>;
				vinc9_vipp_sel = <9>;
				vinc9_rear_sensor_sel = <1>;
				vinc9_front_sensor_sel = <1>;
				vinc9_sensor_list = <0>;
				device_id = <9>;
				work_mode = <0xff>;
				status = "disabled";
			};

			vinc22:vinc@5831ff8 {
				device_type = "vinc10";
				compatible = "allwinner,sunxi-vin-core";
				reg = <0x0 0x05831ff8 0x0 0x1008>;
				vinc10_csi_sel = <2>;
				vinc10_mipi_sel = <2>;
				vinc10_isp_sel = <2>;
				vinc10_isp_tx_ch = <0>;
				vinc10_tdm_rx_sel = <2>;
				vinc10_vipp_sel = <10>;
				vinc10_rear_sensor_sel = <2>;
				vinc10_front_sensor_sel = <2>;
				vinc10_sensor_list = <0>;
				device_id = <10>;
				work_mode = <0xff>;
				status = "disabled";
			};

			vinc23:vinc@5831ff4 {
				device_type = "vinc11";
				compatible = "allwinner,sunxi-vin-core";
				reg = <0x0 0x05831ff4 0x0 0x100c>;
				vinc11_csi_sel = <2>;
				vinc11_mipi_sel = <0xff>;
				vinc11_isp_sel = <0>;
				vinc11_isp_tx_ch = <0>;
				vinc11_tdm_rx_sel = <0>;
				vinc11_vipp_sel = <11>;
				vinc11_rear_sensor_sel = <0>;
				vinc11_front_sensor_sel = <0>;
				vinc11_sensor_list = <0>;
				device_id = <11>;
				work_mode = <0xff>;
				status = "disabled";
			};

			vinc30:vinc@5833000 {
				device_type = "vinc12";
				compatible = "allwinner,sunxi-vin-core";
				reg = <0x0 0x05833000 0x0 0x1000>;
				interrupts-extended = <&plic0 98 IRQ_TYPE_LEVEL_HIGH>;
				vinc12_csi_sel = <0>;
				vinc12_mipi_sel = <0>;
				vinc12_isp_sel = <0>;
				vinc12_isp_tx_ch = <0>;
				vinc12_tdm_rx_sel = <0>;
				vinc12_vipp_sel = <12>;
				vinc12_rear_sensor_sel = <0>;
				vinc12_front_sensor_sel = <0>;
				vinc12_sensor_list = <0>;
				device_id = <12>;
				work_mode = <0x0>;
				status = "disabled";
			};

			vinc31:vinc@5832ffc {
				device_type = "vinc13";
				compatible = "allwinner,sunxi-vin-core";
				reg = <0x0 0x05832ffc 0x0 0x1004>;
				vinc13_csi_sel = <1>;
				vinc13_mipi_sel = <1>;
				vinc13_isp_sel = <1>;
				vinc13_isp_tx_ch = <0>;
				vinc13_tdm_rx_sel = <1>;
				vinc13_vipp_sel = <13>;
				vinc13_rear_sensor_sel = <1>;
				vinc13_front_sensor_sel = <1>;
				vinc13_sensor_list = <0>;
				device_id = <13>;
				work_mode = <0xff>;
				status = "disabled";
			};

			vinc32:vinc@5832ff8 {
				device_type = "vinc14";
				compatible = "allwinner,sunxi-vin-core";
				reg = <0x0 0x05832ff8 0x0 0x1008>;
				vinc14_csi_sel = <2>;
				vinc14_mipi_sel = <2>;
				vinc14_isp_sel = <2>;
				vinc14_isp_tx_ch = <0>;
				vinc14_tdm_rx_sel = <2>;
				vinc14_vipp_sel = <14>;
				vinc14_rear_sensor_sel = <2>;
				vinc14_front_sensor_sel = <2>;
				vinc14_sensor_list = <0>;
				device_id = <14>;
				work_mode = <0xff>;
				status = "disabled";
			};

			vinc33:vinc@5832ff4 {
				device_type = "vinc15";
				compatible = "allwinner,sunxi-vin-core";
				reg = <0x0 0x05832ff4 0x0 0x100c>;
				vinc15_csi_sel = <2>;
				vinc15_mipi_sel = <0xff>;
				vinc15_isp_sel = <0>;
				vinc15_isp_tx_ch = <0>;
				vinc15_tdm_rx_sel = <0>;
				vinc15_vipp_sel = <15>;
				vinc15_rear_sensor_sel = <0>;
				vinc15_front_sensor_sel = <0>;
				vinc15_sensor_list = <0>;
				device_id = <15>;
				work_mode = <0xff>;
				status = "disabled";
			};
		};
	};
};
